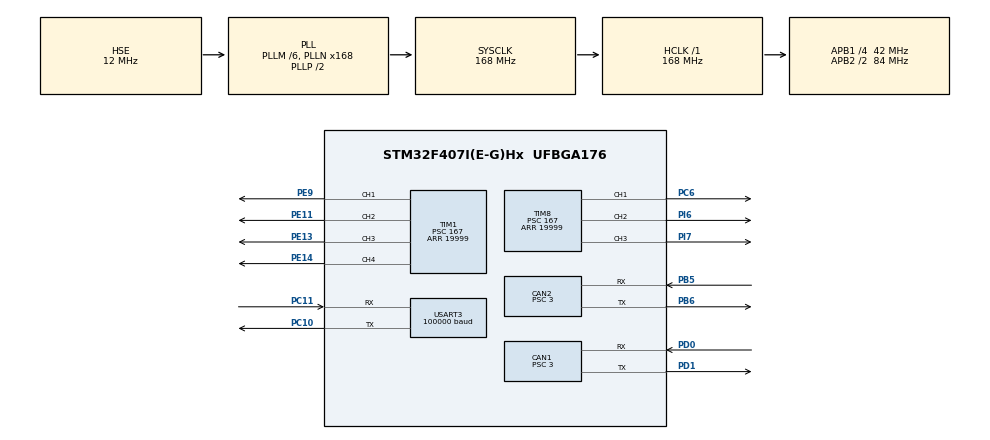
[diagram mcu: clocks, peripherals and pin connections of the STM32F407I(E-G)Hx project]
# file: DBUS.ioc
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CAN1.BS1=CAN_BS1_10TQ
CAN1.BS2=CAN_BS2_3TQ
CAN1.CalculateTimeQuantum=71.42857142857143
CAN1.Prescaler=3
CAN2.BS1=CAN_BS1_10TQ
CAN2.BS2=CAN_BS2_3TQ
CAN2.CalculateTimeQuantum=71.42857142857143
CAN2.Prescaler=3
Dma.Request0=USART3_RX
Dma.USART3_RX.0.Direction=DMA_PERIPH_TO_MEMORY
Dma.USART3_RX.0.FIFOMode=DMA_FIFOMODE_DISABLE
Dma.USART3_RX.0.Instance=DMA1_Stream1
Dma.USART3_RX.0.MemDataAlignment=DMA_MDATAALIGN_BYTE
Dma.USART3_RX.0.MemInc=DMA_MINC_ENABLE
Dma.USART3_RX.0.Mode=DMA_CIRCULAR
Dma.USART3_RX.0.PeriphDataAlignment=DMA_PDATAALIGN_BYTE
Dma.USART3_RX.0.PeriphInc=DMA_PINC_DISABLE
Dma.USART3_RX.0.Priority=DMA_PRIORITY_VERY_HIGH
Mcu.Family=STM32F4
Mcu.Name=STM32F407I(E-G)Hx
Mcu.Package=UFBGA176
NVIC.CAN1_RX0_IRQn=true\:0\:0\:false\:false\:true\:true\:true
NVIC.CAN2_RX0_IRQn=true\:0\:0\:false\:false\:true\:true\:true
NVIC.DMA1_Stream1_IRQn=true\:0\:0\:false\:false\:true\:false\:true
NVIC.PriorityGroup=NVIC_PRIORITYGROUP_4
PA13.Mode=Serial_Wire
PA13.Signal=SYS_JTMS-SWDIO
PA14.Mode=Serial_Wire
PA14.Signal=SYS_JTCK-SWCLK
PB5.Mode=Slave
PB5.Signal=CAN2_RX
PB6.Mode=Slave
PB6.Signal=CAN2_TX
PC10.Mode=Asynchronous
PC10.Signal=USART3_TX
PC11.Mode=Asynchronous
PC11.Signal=USART3_RX
PC6.GPIO_PuPd=GPIO_PULLUP
PC6.GPIO_Speed=GPIO_SPEED_FREQ_HIGH
PC6.Signal=S_TIM8_CH1
PD0.Mode=Master
PD0.Signal=CAN1_RX
PD1.Mode=Master
PD1.Signal=CAN1_TX
PE11.GPIO_PuPd=GPIO_PULLUP
PE11.GPIO_Speed=GPIO_SPEED_FREQ_HIGH
PE11.Signal=S_TIM1_CH2
PE13.GPIO_PuPd=GPIO_PULLUP
PE13.GPIO_Speed=GPIO_SPEED_FREQ_HIGH
PE13.Signal=S_TIM1_CH3
PE14.GPIO_PuPd=GPIO_PULLUP
PE14.GPIO_Speed=GPIO_SPEED_FREQ_HIGH
PE14.Signal=S_TIM1_CH4
PE9.GPIO_PuPd=GPIO_PULLUP
PE9.GPIO_Speed=GPIO_SPEED_FREQ_HIGH
PE9.Signal=S_TIM1_CH1
PH0-OSC_IN.Mode=HSE-External-Oscillator
PH0-OSC_IN.Signal=RCC_OSC_IN
PH1-OSC_OUT.Mode=HSE-External-Oscillator
PH1-OSC_OUT.Signal=RCC_OSC_OUT
PI6.GPIO_PuPd=GPIO_PULLUP
PI6.GPIO_Speed=GPIO_SPEED_FREQ_HIGH
PI6.Signal=S_TIM8_CH2
PI7.GPIO_PuPd=GPIO_PULLUP
PI7.GPIO_Speed=GPIO_SPEED_FREQ_HIGH
PI7.Signal=S_TIM8_CH3
ProjectManager.HeapSize=0x2000
ProjectManager.StackSize=0x2000
ProjectManager.TargetToolchain=MDK-ARM V5
RCC.48MHZClocksFreq_Value=48000000
RCC.AHBFreq_Value=168000000
RCC.APB1CLKDivider=RCC_HCLK_DIV4
RCC.APB1Freq_Value=42000000
RCC.APB1TimFreq_Value=84000000
RCC.APB2CLKDivider=RCC_HCLK_DIV2
RCC.APB2Freq_Value=84000000
RCC.APB2TimFreq_Value=168000000
RCC.CortexFreq_Value=168000000
RCC.HCLKFreq_Value=168000000
RCC.HSE_VALUE=12000000
RCC.HSI_VALUE=16000000
RCC.LSE_VALUE=32768
RCC.PLLM=6
RCC.PLLN=168
RCC.PLLQ=7
RCC.PLLSourceVirtual=RCC_PLLSOURCE_HSE
RCC.RCC_RTC_Clock_SourceVirtual=RCC_RTCCLKSOURCE_HSE_DIV30
RCC.RCC_RTC_Clock_Source_FROM_HSE=RCC_RTCCLKSOURCE_HSE_DIV30
RCC.SYSCLKFreq_VALUE=168000000
RCC.SYSCLKSource=RCC_SYSCLKSOURCE_PLLCLK
RCC.VCOOutputFreq_Value=336000000
SH.S_TIM1_CH1.0=TIM1_CH1,PWM Generation1 CH1
SH.S_TIM1_CH2.0=TIM1_CH2,PWM Generation2 CH2
SH.S_TIM1_CH3.0=TIM1_CH3,PWM Generation3 CH3
SH.S_TIM1_CH4.0=TIM1_CH4,PWM Generation4 CH4
SH.S_TIM8_CH1.0=TIM8_CH1,PWM Generation1 CH1
SH.S_TIM8_CH2.0=TIM8_CH2,PWM Generation2 CH2
SH.S_TIM8_CH3.0=TIM8_CH3,PWM Generation3 CH3
TIM1.Channel-PWM\ Generation1\ CH1=TIM_CHANNEL_1
TIM1.Channel-PWM\ Generation2\ CH2=TIM_CHANNEL_2
TIM1.Channel-PWM\ Generation3\ CH3=TIM_CHANNEL_3
TIM1.Channel-PWM\ Generation4\ CH4=TIM_CHANNEL_4
TIM1.Period=19999
TIM1.Prescaler=167
TIM1.Pulse-PWM\ Generation1\ CH1=2000
TIM1.Pulse-PWM\ Generation2\ CH2=2000
TIM1.Pulse-PWM\ Generation3\ CH3=2000
TIM1.Pulse-PWM\ Generation4\ CH4=2000
TIM8.Channel-PWM\ Generation1\ CH1=TIM_CHANNEL_1
TIM8.Channel-PWM\ Generation2\ CH2=TIM_CHANNEL_2
TIM8.Channel-PWM\ Generation3\ CH3=TIM_CHANNEL_3
TIM8.Period=19999
TIM8.Prescaler=167
TIM8.Pulse-PWM\ Generation1\ CH1=2000
TIM8.Pulse-PWM\ Generation2\ CH2=2000
TIM8.Pulse-PWM\ Generation3\ CH3=2000
USART3.BaudRate=100000
USART3.Parity=PARITY_EVEN
USART3.VirtualMode=VM_ASYNC
USART3.WordLength=WORDLENGTH_9B
VP_TIM1_VS_ClockSourceINT.Mode=Internal
VP_TIM8_VS_ClockSourceINT.Mode=Internal
board=custom

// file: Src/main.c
/* USER CODE BEGIN Header */
/**
  ******************************************************************************
  * @file           : main.c
  * @brief          : Main program body
  ******************************************************************************
  * @attention
  *
  * <h2><center>&copy; Copyright (c) 2020 STMicroelectronics.
  * All rights reserved.</center></h2>
  *
  * This software component is licensed by ST under BSD 3-Clause license,
  * the "License"; You may not use this file except in compliance with the
  * License. You may obtain a copy of the License at:
  *                        opensource.org/licenses/BSD-3-Clause
  *
  ******************************************************************************
  */
/* USER CODE END Header */

#include "main.h"
#include "can.h"
#include "dma.h"
#include "tim.h"
#include "usart.h"
#include "gpio.h"

/* USER CODE BEGIN Includes */
#include "bsp_can.h"
#include "CAN_receive.h"
#include "pid.h"
/* USER CODE END Includes */

/* USER CODE BEGIN PV */
RC_Ctl_t RC_Ctl;   							//遥控器结构体、
uint8_t sbus_rx_buffer[18]; 		//接受缓存区
uint8_t stop_time=0 ;
uint8_t lastmode=0 ;
uint16_t start_time=0;

pid_type_def motor1_pid,motor2_pid,motor3_pid,motor4_pid,motor5_pid,motor6_pid;

const motor_measure_t *motor1_data,*motor2_data,*motor3_data,*motor4_data,*motor5_data,*motor6_data;
int set_speed3_launch1,set_speed3_launch2,set_current_Yaw,set_current_transmit,set_current_Pitch; //���÷��䡢̧�������䡢ת��ĵ���
int set_speed3,set_speed2,set_speed1;
const fp32 PID[3]={5,0.01,0};	//P,I,D

//static motor_measure_t motor_chassis[7];

/* USER CODE END PV */

void SystemClock_Config(void);

int main(void)
{

  /* MCU Configuration--------------------------------------------------------*/

  /* Reset of all peripherals, Initializes the Flash interface and the Systick. */
  HAL_Init();

  /* Configure the system clock */
  SystemClock_Config();

  /* Initialize all configured peripherals */
  MX_GPIO_Init();
  MX_DMA_Init();
  MX_TIM8_Init();
  MX_TIM1_Init();
  MX_USART3_UART_Init();
  MX_CAN1_Init();
  MX_CAN2_Init();
  /* USER CODE BEGIN 2 */
	PID_init(&motor1_pid,PID_POSITION,PID,10000,000);
	PID_init(&motor2_pid,PID_POSITION,PID,10000,000);
	PID_init(&motor3_pid,PID_POSITION,PID,10000,000);
	PID_init(&motor4_pid,PID_POSITION,PID,10000,000);
	PID_init(&motor5_pid,PID_POSITION,PID,6000,000);
	PID_init(&motor6_pid,PID_POSITION,PID,6000,000);

	motor1_data = get_chassis_motor_measure_point(0); 		//moto1数据
	motor2_data = get_chassis_motor_measure_point(1); 		//moto2数据
	motor3_data = get_chassis_motor_measure_point(2); 		//moto3数据
	motor4_data = get_chassis_motor_measure_point(3); 		//moto4数据
	motor5_data = get_yaw_gimbal_motor_measure_point();		//moto3数据
	motor6_data = get_pitch_gimbal_motor_measure_point(); 		//moto4数据

  can_filter_init();

	HAL_UART_Receive_DMA(&huart3,sbus_rx_buffer,18);
  /* USER CODE END 2 */

  /* Infinite loop */
  /* USER CODE BEGIN WHILE */
	int control_count = 1;
	while(1)
	{
    if(RC_Ctl.rc.s1 == 1)//摇杆在上
    {
        set_speed3 = 5200; //max7000
			  set_speed2= 5200;
			  set_speed1= 3000;
        PID_calc(&motor1_pid, motor1_data->speed_rpm, -set_speed3);
        PID_calc(&motor2_pid, motor2_data->speed_rpm, set_speed3);
        PID_calc(&motor3_pid, motor3_data->speed_rpm, -set_speed2);
        PID_calc(&motor4_pid, motor4_data->speed_rpm, set_speed2);
        PID_calc(&motor5_pid, motor5_data->speed_rpm, -set_speed1);
        PID_calc(&motor6_pid, motor6_data->speed_rpm, set_speed1);
        CAN_cmd_chassis(motor1_pid.out, motor2_pid.out, motor3_pid.out, motor4_pid.out);
				CAN_cmd_gimbal(motor5_pid.out, motor6_pid.out,0, 0);
			  //HAL_Delay(1);
        //CAN_Launch_Dir_Receive(motor5_pid.out, motor6_pid.out, 0, 0);
    }
		else if(RC_Ctl.rc.s1 == 3)//摇杆中间
		{
        set_speed3 = 5100; //max7000
			  set_speed2= 5100;
			  set_speed1= 3000;
        PID_calc(&motor1_pid, motor1_data->speed_rpm, -set_speed3);
        PID_calc(&motor2_pid, motor2_data->speed_rpm, set_speed3);
        PID_calc(&motor3_pid, motor3_data->speed_rpm, -set_speed2);
        PID_calc(&motor4_pid, motor4_data->speed_rpm, set_speed2);
        PID_calc(&motor5_pid, motor5_data->speed_rpm, -set_speed1);
        PID_calc(&motor6_pid, motor6_data->speed_rpm, set_speed1);
        CAN_cmd_chassis(motor1_pid.out, motor2_pid.out, motor3_pid.out, motor4_pid.out);
				CAN_cmd_gimbal(motor5_pid.out, motor6_pid.out,0, 0);
			  //HAL_Delay(1);
        //CAN_Launch_Dir_Receive(motor5_pid.out, motor6_pid.out, 0, 0);
		}
		else
		{
        set_speed3 = 0; //max7000
        PID_calc(&motor1_pid, motor1_data->speed_rpm, -set_speed3);
        PID_calc(&motor2_pid, motor2_data->speed_rpm, set_speed3);
        PID_calc(&motor3_pid, motor3_data->speed_rpm, -set_speed3);
        PID_calc(&motor4_pid, motor4_data->speed_rpm, set_speed3);
        PID_calc(&motor5_pid, motor5_data->speed_rpm, -0);
        PID_calc(&motor6_pid, motor6_data->speed_rpm, 0);
        CAN_cmd_chassis(motor1_pid.out, motor2_pid.out, motor3_pid.out, motor4_pid.out);
				CAN_cmd_gimbal(motor5_pid.out, motor6_pid.out,0, 0);
		}
		HAL_Delay(1);
    //control_count++;
	}
//while (1)
//{
//		stop_time=0;
////		set_current_launch = (RC_Ctl.rc.ch3-1024)*2;
//
////		set_current_transmit = (RC_Ctl.rc.ch3-1024)*2;
//		if((RC_Ctl.rc.ch3-1024)*2>=1000)
//		{
//			set_current_transmit = 1000 ;
//			stop_time=1;
//		}
//		else if((RC_Ctl.rc.ch3-1024)*2<=-1000)
//		{
//			set_current_transmit = -1000 ;
//			stop_time=2;
//		}else
//		{
//			switch (stop_time)
//			{
//				case 0:set_current_transmit = 0 ;stop_time=0;break;
//				case 1:stop_time=0;set_current_transmit = 0 ;break;
//				case 2:stop_time=0;set_current_transmit = 0 ;break;
////				case 1:CAN_Launch_Dir_Receive(-2000,0,0);HAL_Delay(1);stop_time=0;set_current_transmit = 0 ;break;
////				case 2:CAN_Launch_Dir_Receive(2000,0,0);HAL_Delay(1);stop_time=0;set_current_transmit = 0 ;break;
//			}
//		}
//		set_current_Yaw = (RC_Ctl.rc.ch0-1024)*2;
//		set_current_Pitch = (RC_Ctl.rc.ch1-1024)*2;
    /* USER CODE END WHILE */
//		set_speed3_launch1 = 1000;//设置第一组速度值  上
//		set_speed3_launch2 = 1000;//设置第二组速度值  下

//		PID_calc(&motor1_pid,motor1_data->speed_rpm,-set_speed3_launch1);
//		PID_calc(&motor2_pid,motor2_data->speed_rpm,set_speed3_launch1);
//		PID_calc(&motor3_pid,motor3_data->speed_rpm,set_speed3_launch2);
//		PID_calc(&motor4_pid,motor4_data->speed_rpm,-set_speed3_launch2);

//		if(RC_Ctl.rc.s1 == 1)
//		{
//			if(lastmode==0)
//			{
//				for(start_time=0;start_time<=5000;start_time++)
//				{
//						set_speed3_launch1 = start_time/2;
//		        set_speed3_launch2 = start_time/2;
//					  uint8_t i=0;
//						for(i=0;i<200;i++)
//					 {
//						set_speed3_launch1 = start_time/2;
//		        set_speed3_launch2 = start_time/2;
//					 }
//				}
//				if(start_time>=5000)
//				{
//					set_speed3_launch1 = 1000;//调速最大8000
//					set_speed3_launch2 = 1000;//调速最大8000
//					lastmode=1;
//					start_time=0;
//				}
//			}
//			PID_calc(&motor1_pid,motor1_data->speed_rpm,-set_speed3_launch1);
//			PID_calc(&motor2_pid,motor2_data->speed_rpm,set_speed3_launch1);
//			PID_calc(&motor3_pid,motor3_data->speed_rpm,set_speed3_launch2);
//			PID_calc(&motor4_pid,motor4_data->speed_rpm,-set_speed3_launch2);
//			CAN_cmd_chassis(motor1_pid.out,motor2_pid.out,motor3_pid.out,motor4_pid.out);
//			CAN_Launch_Dir_Receive(set_current_transmit,set_current_Yaw,set_current_Pitch);
//		}
//		else
//		{
//			CAN_cmd_chassis(0,0,0,0) ;
//			lastmode=0;
//		}
//		HAL_Delay(1);
//
//  }
  /* USER CODE END 3 */
}

void SystemClock_Config(void)
{
  RCC_OscInitTypeDef RCC_OscInitStruct = {0};
  RCC_ClkInitTypeDef RCC_ClkInitStruct = {0};

  /** Configure the main internal regulator output voltage
  */
  __HAL_RCC_PWR_CLK_ENABLE();
  __HAL_PWR_VOLTAGESCALING_CONFIG(PWR_REGULATOR_VOLTAGE_SCALE1);
  /** Initializes the CPU, AHB and APB busses clocks
  */
  RCC_OscInitStruct.OscillatorType = RCC_OSCILLATORTYPE_HSE;
  RCC_OscInitStruct.HSEState = RCC_HSE_ON;
  RCC_OscInitStruct.PLL.PLLState = RCC_PLL_ON;
  RCC_OscInitStruct.PLL.PLLSource = RCC_PLLSOURCE_HSE;
  RCC_OscInitStruct.PLL.PLLM = 6;
  RCC_OscInitStruct.PLL.PLLN = 168;
  RCC_OscInitStruct.PLL.PLLP = RCC_PLLP_DIV2;
  RCC_OscInitStruct.PLL.PLLQ = 4;
  if (HAL_RCC_OscConfig(&RCC_OscInitStruct) != HAL_OK)
  {
    Error_Handler();
  }
  /** Initializes the CPU, AHB and APB busses clocks
  */
  RCC_ClkInitStruct.ClockType = RCC_CLOCKTYPE_HCLK|RCC_CLOCKTYPE_SYSCLK
                              |RCC_CLOCKTYPE_PCLK1|RCC_CLOCKTYPE_PCLK2;
  RCC_ClkInitStruct.SYSCLKSource = RCC_SYSCLKSOURCE_PLLCLK;
  RCC_ClkInitStruct.AHBCLKDivider = RCC_SYSCLK_DIV1;
  RCC_ClkInitStruct.APB1CLKDivider = RCC_HCLK_DIV4;
  RCC_ClkInitStruct.APB2CLKDivider = RCC_HCLK_DIV2;

  if (HAL_RCC_ClockConfig(&RCC_ClkInitStruct, FLASH_LATENCY_5) != HAL_OK)
  {
    Error_Handler();
  }
}

/* USER CODE BEGIN 4 */
void HAL_UART_RxCpltCallback(UART_HandleTypeDef *UartHandle)
{
				RC_Ctl.rc.ch0 = (sbus_rx_buffer[0]| (sbus_rx_buffer[1] << 8)) & 0x07ff;
				RC_Ctl.rc.ch1 = ((sbus_rx_buffer[1] >> 3) | (sbus_rx_buffer[2] << 5)) & 0x07ff;
				RC_Ctl.rc.ch2 = ((sbus_rx_buffer[2] >> 6) | (sbus_rx_buffer[3] << 2) | (sbus_rx_buffer[4] << 10)) & 0x07ff;
				RC_Ctl.rc.ch3 = ((sbus_rx_buffer[4] >> 1) | (sbus_rx_buffer[5] << 7)) & 0x07ff;
				RC_Ctl.rc.s1  = ((sbus_rx_buffer[5] >> 4)& 0x000C) >> 2;
				RC_Ctl.rc.s2  = ((sbus_rx_buffer[5] >> 4)& 0x0003);

				RC_Ctl.mouse.x = sbus_rx_buffer[6] | (sbus_rx_buffer[7] << 8);                    //!< Mouse X axis
				RC_Ctl.mouse.y = sbus_rx_buffer[8] | (sbus_rx_buffer[9] << 8);                    //!< Mouse Y axis
				RC_Ctl.mouse.z = sbus_rx_buffer[10] | (sbus_rx_buffer[11] << 8);                  //!< Mouse Z axis
				RC_Ctl.mouse.press_l = sbus_rx_buffer[12];                                        //!< Mouse Left Is Press
				RC_Ctl.mouse.press_r = sbus_rx_buffer[13];                                        //!< Mouse Right Is Press
				RC_Ctl.key.v = sbus_rx_buffer[14] | (sbus_rx_buffer[15] << 8);   			//!< KeyBoard value
}
/* USER CODE END 4 */

void Error_Handler(void)
{
}

/************************ (C) COPYRIGHT STMicroelectronics *****END OF FILE****/
